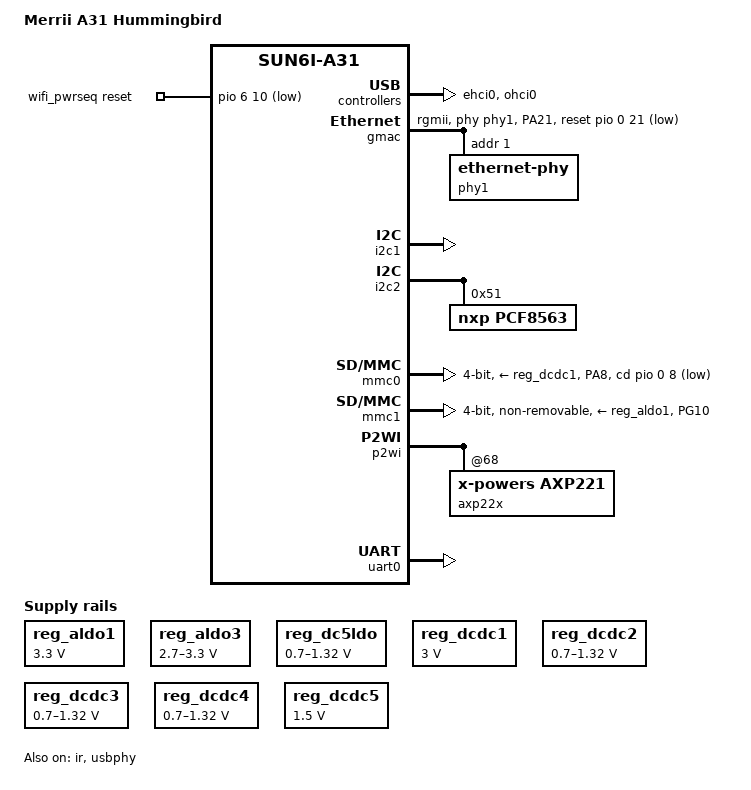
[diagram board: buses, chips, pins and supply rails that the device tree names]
/*
 * Copyright 2014 Maxime Ripard
 *
 * Maxime Ripard <maxime.ripard@free-electrons.com>
 *
 * This file is dual-licensed: you can use it either under the terms
 * of the GPL or the X11 license, at your option. Note that this dual
 * licensing only applies to this file, and not this project as a
 * whole.
 *
 *  a) This file is free software; you can redistribute it and/or
 *     modify it under the terms of the GNU General Public License as
 *     published by the Free Software Foundation; either version 2 of the
 *     License, or (at your option) any later version.
 *
 *     This file is distributed in the hope that it will be useful,
 *     but WITHOUT ANY WARRANTY; without even the implied warranty of
 *     MERCHANTABILITY or FITNESS FOR A PARTICULAR PURPOSE.  See the
 *     GNU General Public License for more details.
 *
 * Or, alternatively,
 *
 *  b) Permission is hereby granted, free of charge, to any person
 *     obtaining a copy of this software and associated documentation
 *     files (the "Software"), to deal in the Software without
 *     restriction, including without limitation the rights to use,
 *     copy, modify, merge, publish, distribute, sublicense, and/or
 *     sell copies of the Software, and to permit persons to whom the
 *     Software is furnished to do so, subject to the following
 *     conditions:
 *
 *     The above copyright notice and this permission notice shall be
 *     included in all copies or substantial portions of the Software.
 *
 *     THE SOFTWARE IS PROVIDED "AS IS", WITHOUT WARRANTY OF ANY KIND,
 *     EXPRESS OR IMPLIED, INCLUDING BUT NOT LIMITED TO THE WARRANTIES
 *     OF MERCHANTABILITY, FITNESS FOR A PARTICULAR PURPOSE AND
 *     NONINFRINGEMENT. IN NO EVENT SHALL THE AUTHORS OR COPYRIGHT
 *     HOLDERS BE LIABLE FOR ANY CLAIM, DAMAGES OR OTHER LIABILITY,
 *     WHETHER IN AN ACTION OF CONTRACT, TORT OR OTHERWISE, ARISING
 *     FROM, OUT OF OR IN CONNECTION WITH THE SOFTWARE OR THE USE OR
 *     OTHER DEALINGS IN THE SOFTWARE.
 */

/dts-v1/;
#include "sun6i-a31.dtsi"
#include "sunxi-common-regulators.dtsi"

#include <dt-bindings/gpio/gpio.h>
#include <dt-bindings/pinctrl/sun4i-a10.h>

/ {
	model = "Merrii A31 Hummingbird";
	compatible = "merrii,a31-hummingbird", "allwinner,sun6i-a31";

	aliases {
		rtc0 = &pcf8563;
		rtc1 = &rtc;
		serial0 = &uart0;
	};

	chosen {
		stdout-path = "serial0:115200n8";
	};

	wifi_pwrseq: wifi_pwrseq {
		compatible = "mmc-pwrseq-simple";
		reset-gpios = <&pio 6 10 GPIO_ACTIVE_LOW>; /* PG10 */
	};
};

&cpu0 {
	cpu-supply = <&reg_dcdc3>;
};

&ehci0 {
	status = "okay";
};

&gmac {
	pinctrl-names = "default";
	pinctrl-0 = <&gmac_pins_rgmii_a>, <&gmac_phy_reset_pin_hummingbird>;
	phy = <&phy1>;
	phy-mode = "rgmii";
	snps,reset-gpio = <&pio 0 21 GPIO_ACTIVE_HIGH>;
	snps,reset-active-low;
	snps,reset-delays-us = <0 10000 30000>;
	status = "okay";

	phy1: ethernet-phy@1 {
		reg = <1>;
	};
};

&i2c0 {
	pinctrl-names = "default";
	pinctrl-0 = <&i2c0_pins_a>;
	/* pull-ups and devices require AXP221 DLDO3 */
	status = "failed";
};

&i2c1 {
	pinctrl-names = "default";
	pinctrl-0 = <&i2c1_pins_a>;
	status = "okay";
};

&i2c2 {
	pinctrl-names = "default";
	pinctrl-0 = <&i2c2_pins_a>;
	status = "okay";

	pcf8563: rtc@51 {
		compatible = "nxp,pcf8563";
		reg = <0x51>;
	};
};

&ir {
	pinctrl-names = "default";
	pinctrl-0 = <&ir_pins_a>;
	status = "okay";
};

&mmc0 {
	pinctrl-names = "default";
	pinctrl-0 = <&mmc0_pins_a>, <&mmc0_cd_pin_hummingbird>;
	vmmc-supply = <&reg_dcdc1>;
	bus-width = <4>;
	cd-gpios = <&pio 0 8 GPIO_ACTIVE_HIGH>; /* PA8 */
	cd-inverted;
	status = "okay";
};

&mmc0_pins_a {
	/* external pull-ups missing for some pins */
	allwinner,pull = <SUN4I_PINCTRL_PULL_UP>;
};

&mmc1 {
	pinctrl-names = "default";
	pinctrl-0 = <&mmc1_pins_a>, <&wifi_reset_pin_hummingbird>;
	vmmc-supply = <&reg_aldo1>;
	mmc-pwrseq = <&wifi_pwrseq>;
	bus-width = <4>;
	non-removable;
	status = "okay";
};

&ohci0 {
	status = "okay";
};

&pio {
	gmac_phy_reset_pin_hummingbird: gmac_phy_reset_pin@0 {
		allwinner,pins = "PA21";
		allwinner,function = "gpio_out";
		allwinner,drive = <SUN4I_PINCTRL_10_MA>;
		allwinner,pull = <SUN4I_PINCTRL_NO_PULL>;
	};

	mmc0_cd_pin_hummingbird: mmc0_cd_pin@0 {
		allwinner,pins = "PA8";
		allwinner,function = "gpio_in";
		allwinner,drive = <SUN4I_PINCTRL_10_MA>;
		allwinner,pull = <SUN4I_PINCTRL_PULL_UP>;
	};

	wifi_reset_pin_hummingbird: wifi_reset_pin@0 {
		allwinner,pins = "PG10";
		allwinner,function = "gpio_out";
		allwinner,drive = <SUN4I_PINCTRL_10_MA>;
		allwinner,pull = <SUN4I_PINCTRL_NO_PULL>;
	};
};

&p2wi {
	status = "okay";

	axp22x: pmic@68 {
		compatible = "x-powers,axp221";
		reg = <0x68>;
		interrupt-parent = <&nmi_intc>;
		interrupts = <0 IRQ_TYPE_LEVEL_LOW>;
	};
};

#include "axp22x.dtsi"

&reg_aldo1 {
	regulator-min-microvolt = <3300000>;
	regulator-max-microvolt = <3300000>;
	regulator-name = "vcc-wifi";
};

&reg_aldo3 {
	regulator-always-on;
	regulator-min-microvolt = <2700000>;
	regulator-max-microvolt = <3300000>;
	regulator-name = "avcc";
};

&reg_dc5ldo {
	regulator-min-microvolt = <700000>;
	regulator-max-microvolt = <1320000>;
	regulator-name = "vdd-cpus";
};

&reg_dcdc1 {
	regulator-always-on;
	regulator-min-microvolt = <3000000>;
	regulator-max-microvolt = <3000000>;
	regulator-name = "vcc-3v0";
};

&reg_dcdc2 {
	regulator-min-microvolt = <700000>;
	regulator-max-microvolt = <1320000>;
	regulator-name = "vdd-gpu";
};

&reg_dcdc3 {
	regulator-always-on;
	regulator-min-microvolt = <700000>;
	regulator-max-microvolt = <1320000>;
	regulator-name = "vdd-cpu";
};

&reg_dcdc4 {
	regulator-always-on;
	regulator-min-microvolt = <700000>;
	regulator-max-microvolt = <1320000>;
	regulator-name = "vdd-sys-dll";
};

&reg_dcdc5 {
	regulator-always-on;
	regulator-min-microvolt = <1500000>;
	regulator-max-microvolt = <1500000>;
	regulator-name = "vcc-dram";
};

&reg_usb1_vbus {
	gpio = <&pio 7 24 GPIO_ACTIVE_HIGH>; /* PH24 */
	status = "okay";
};

&uart0 {
	pinctrl-names = "default";
	pinctrl-0 = <&uart0_pins_a>;
	status = "okay";
};

&usb1_vbus_pin_a {
	/* different pin from sunxi-common-regulators */
	allwinner,pins = "PH24";
};

&usbphy {
	usb1_vbus-supply = <&reg_usb1_vbus>;
	status = "okay";
};
